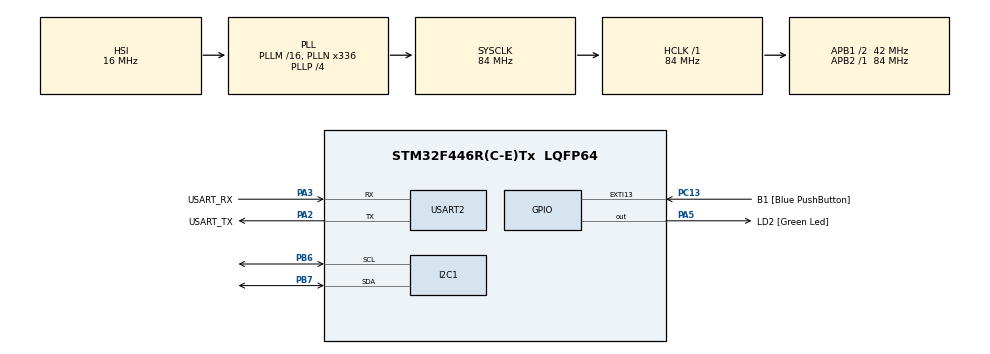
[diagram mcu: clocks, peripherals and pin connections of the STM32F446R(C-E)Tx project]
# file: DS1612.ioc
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Mcu.Family=STM32F4
Mcu.Name=STM32F446R(C-E)Tx
Mcu.Package=LQFP64
NVIC.PriorityGroup=NVIC_PRIORITYGROUP_0
PA13.GPIO_Label=TMS
PA13.Mode=Serial_Wire
PA13.Signal=SYS_JTMS-SWDIO
PA14.GPIO_Label=TCK
PA14.Mode=Serial_Wire
PA14.Signal=SYS_JTCK-SWCLK
PA2.GPIO_Label=USART_TX
PA2.Mode=Asynchronous
PA2.Signal=USART2_TX
PA3.GPIO_Label=USART_RX
PA3.Mode=Asynchronous
PA3.Signal=USART2_RX
PA5.GPIO_Label=LD2 [Green Led]
PA5.Signal=GPIO_Output
PB3.GPIO_Label=SWO
PB3.Signal=SYS_JTDO-SWO
PB6.GPIO_Speed=GPIO_SPEED_FREQ_HIGH
PB6.Mode=I2C
PB6.Signal=I2C1_SCL
PB7.GPIO_PuPdOD=GPIO_NOPULL
PB7.GPIO_Speed=GPIO_SPEED_FREQ_HIGH
PB7.Mode=I2C
PB7.Signal=I2C1_SDA
PC13.GPIO_Label=B1 [Blue PushButton]
PC13.GPIO_ModeDefaultEXTI=GPIO_MODE_IT_FALLING
PC13.Signal=GPXTI13
PC14-OSC32_IN.Mode=LSE-External-Oscillator
PC14-OSC32_IN.Signal=RCC_OSC32_IN
PC15-OSC32_OUT.Mode=LSE-External-Oscillator
PC15-OSC32_OUT.Signal=RCC_OSC32_OUT
PH0-OSC_IN.Mode=HSE-External-Oscillator
PH0-OSC_IN.Signal=RCC_OSC_IN
PH1-OSC_OUT.Mode=HSE-External-Oscillator
PH1-OSC_OUT.Signal=RCC_OSC_OUT
ProjectManager.HeapSize=0x200
ProjectManager.StackSize=0x400
ProjectManager.TargetToolchain=SW4STM32
RCC.48MHZClocksFreq_Value=84000000
RCC.AHBFreq_Value=84000000
RCC.APB1CLKDivider=RCC_HCLK_DIV2
RCC.APB1Freq_Value=42000000
RCC.APB1TimFreq_Value=84000000
RCC.APB2Freq_Value=84000000
RCC.APB2TimFreq_Value=84000000
RCC.CortexFreq_Value=84000000
RCC.FLatency-AdvancedSettings=FLASH_LATENCY_2
RCC.HCLKFreq_Value=84000000
RCC.HSE_VALUE=8000000
RCC.HSI_VALUE=16000000
RCC.PLLN=336
RCC.PLLP=RCC_PLLP_DIV4
RCC.SYSCLKFreq_VALUE=84000000
RCC.SYSCLKSource=RCC_SYSCLKSOURCE_PLLCLK
RCC.USBFreq_Value=168000000
RCC.VCOOutputFreq_Value=336000000
USART2.VirtualMode=VM_ASYNC
board=NUCLEO-F446RE

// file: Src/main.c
/* USER CODE BEGIN Header */
/**
  ******************************************************************************
  * @file           : main.c
  * @brief          : Main program body
  ******************************************************************************
  * @attention
  *
  * <h2><center>&copy; Copyright (c) 2019 STMicroelectronics.
  * All rights reserved.</center></h2>
  *
  * This software component is licensed by ST under BSD 3-Clause license,
  * the "License"; You may not use this file except in compliance with the
  * License. You may obtain a copy of the License at:
  *                        opensource.org/licenses/BSD-3-Clause
  *
  ******************************************************************************
  */
/* USER CODE END Header */

#include "main.h"
#include <string.h>
#include "vamk_lcd.h"

I2C_HandleTypeDef hi2c1;

UART_HandleTypeDef huart2;

/* USER CODE BEGIN PV */

uint8_t raw_data[2] = {0, 0};
uint8_t str_line1[] = "Temperature";
uint8_t str_line2[16] = "";

//sensor's command
uint8_t start_convert = 0xEE;
uint8_t stop_convert = 0x22;
uint8_t read_temp = 0xAA;
uint8_t read_counter = 0xA8;
uint8_t read_slope = 0xA8;
uint8_t access_config = 0xAC;
uint8_t access_TH = 0xA1;
uint8_t access_TL = 0xA2;

uint8_t *start_convert_ptr = &start_convert;
uint8_t *stop_convert_ptr = &stop_convert;
uint8_t *read_temp_ptr = &read_temp;
uint8_t *read_counter_ptr = &read_counter;
uint8_t *read_slope_ptr = &read_slope;
uint8_t *access_config_ptr = &access_config;
uint8_t *access_TH_ptr = &access_TH;
uint8_t *access_TL_ptr = &access_TL;

/* Slaves' addresses */
uint16_t sensor_addr = 0x90;

/* USER CODE END PV */

void SystemClock_Config(void);
static void MX_GPIO_Init(void);
static void MX_I2C1_Init(void);
static void MX_USART2_UART_Init(void);

int main(void)
{

  /* MCU Configuration--------------------------------------------------------*/

  /* Reset of all peripherals, Initializes the Flash interface and the Systick. */
  HAL_Init();

  /* Configure the system clock */
  SystemClock_Config();

  /* Initialize all configured peripherals */
  MX_GPIO_Init();
  MX_I2C1_Init();
  MX_USART2_UART_Init();
  /* USER CODE BEGIN 2 */

  HAL_I2C_Master_Transmit(&hi2c1, sensor_addr, start_convert_ptr, 1, 100);
  LCD_Init(hi2c1);
  LCD_ClearAll(hi2c1);

  /* USER CODE END 2 */

  /* Infinite loop */
  while (1)
  {

    /* USER CODE BEGIN 3 */
	  HAL_I2C_Master_Transmit(&hi2c1, sensor_addr, read_temp_ptr, 1, 100);
	  HAL_Delay(20);
	  HAL_I2C_Master_Receive(&hi2c1, sensor_addr, raw_data, 2, 100);

	  float temp=0;
	  if(raw_data[1]==-128) temp=0.5;
	  if(raw_data[1]==0) temp=0;
	  if(temp==0.5) temp= (float)raw_data[0]+temp;
	  else temp=raw_data[0];
	  DisplayOnLCD(temp, hi2c1, str_line1, str_line2);

  }
  /* USER CODE END 3 */
}

void SystemClock_Config(void)
{
  RCC_OscInitTypeDef RCC_OscInitStruct = {0};
  RCC_ClkInitTypeDef RCC_ClkInitStruct = {0};

  /** Configure the main internal regulator output voltage
  */
  __HAL_RCC_PWR_CLK_ENABLE();
  __HAL_PWR_VOLTAGESCALING_CONFIG(PWR_REGULATOR_VOLTAGE_SCALE3);
  /** Initializes the CPU, AHB and APB busses clocks
  */
  RCC_OscInitStruct.OscillatorType = RCC_OSCILLATORTYPE_HSI;
  RCC_OscInitStruct.HSIState = RCC_HSI_ON;
  RCC_OscInitStruct.HSICalibrationValue = RCC_HSICALIBRATION_DEFAULT;
  RCC_OscInitStruct.PLL.PLLState = RCC_PLL_ON;
  RCC_OscInitStruct.PLL.PLLSource = RCC_PLLSOURCE_HSI;
  RCC_OscInitStruct.PLL.PLLM = 16;
  RCC_OscInitStruct.PLL.PLLN = 336;
  RCC_OscInitStruct.PLL.PLLP = RCC_PLLP_DIV4;
  RCC_OscInitStruct.PLL.PLLQ = 2;
  RCC_OscInitStruct.PLL.PLLR = 2;
  if (HAL_RCC_OscConfig(&RCC_OscInitStruct) != HAL_OK)
  {
    Error_Handler();
  }
  /** Initializes the CPU, AHB and APB busses clocks
  */
  RCC_ClkInitStruct.ClockType = RCC_CLOCKTYPE_HCLK|RCC_CLOCKTYPE_SYSCLK
                              |RCC_CLOCKTYPE_PCLK1|RCC_CLOCKTYPE_PCLK2;
  RCC_ClkInitStruct.SYSCLKSource = RCC_SYSCLKSOURCE_PLLCLK;
  RCC_ClkInitStruct.AHBCLKDivider = RCC_SYSCLK_DIV1;
  RCC_ClkInitStruct.APB1CLKDivider = RCC_HCLK_DIV2;
  RCC_ClkInitStruct.APB2CLKDivider = RCC_HCLK_DIV1;

  if (HAL_RCC_ClockConfig(&RCC_ClkInitStruct, FLASH_LATENCY_2) != HAL_OK)
  {
    Error_Handler();
  }
}

static void MX_I2C1_Init(void)
{

  hi2c1.Instance = I2C1;
  hi2c1.Init.ClockSpeed = 100000;
  hi2c1.Init.DutyCycle = I2C_DUTYCYCLE_2;
  hi2c1.Init.OwnAddress1 = 0;
  hi2c1.Init.AddressingMode = I2C_ADDRESSINGMODE_7BIT;
  hi2c1.Init.DualAddressMode = I2C_DUALADDRESS_DISABLE;
  hi2c1.Init.OwnAddress2 = 0;
  hi2c1.Init.GeneralCallMode = I2C_GENERALCALL_DISABLE;
  hi2c1.Init.NoStretchMode = I2C_NOSTRETCH_DISABLE;
  if (HAL_I2C_Init(&hi2c1) != HAL_OK)
  {
    Error_Handler();
  }

}

static void MX_USART2_UART_Init(void)
{

  huart2.Instance = USART2;
  huart2.Init.BaudRate = 115200;
  huart2.Init.WordLength = UART_WORDLENGTH_8B;
  huart2.Init.StopBits = UART_STOPBITS_1;
  huart2.Init.Parity = UART_PARITY_NONE;
  huart2.Init.Mode = UART_MODE_TX_RX;
  huart2.Init.HwFlowCtl = UART_HWCONTROL_NONE;
  huart2.Init.OverSampling = UART_OVERSAMPLING_16;
  if (HAL_UART_Init(&huart2) != HAL_OK)
  {
    Error_Handler();
  }

}

static void MX_GPIO_Init(void)
{
  GPIO_InitTypeDef GPIO_InitStruct = {0};

  /* GPIO Ports Clock Enable */
  __HAL_RCC_GPIOC_CLK_ENABLE();
  __HAL_RCC_GPIOH_CLK_ENABLE();
  __HAL_RCC_GPIOA_CLK_ENABLE();
  __HAL_RCC_GPIOB_CLK_ENABLE();

  /*Configure GPIO pin Output Level */
  HAL_GPIO_WritePin(LD2_GPIO_Port, LD2_Pin, GPIO_PIN_RESET);

  /*Configure GPIO pin : B1_Pin */
  GPIO_InitStruct.Pin = B1_Pin;
  GPIO_InitStruct.Mode = GPIO_MODE_IT_FALLING;
  GPIO_InitStruct.Pull = GPIO_NOPULL;
  HAL_GPIO_Init(B1_GPIO_Port, &GPIO_InitStruct);

  /*Configure GPIO pin : LD2_Pin */
  GPIO_InitStruct.Pin = LD2_Pin;
  GPIO_InitStruct.Mode = GPIO_MODE_OUTPUT_PP;
  GPIO_InitStruct.Pull = GPIO_NOPULL;
  GPIO_InitStruct.Speed = GPIO_SPEED_FREQ_LOW;
  HAL_GPIO_Init(LD2_GPIO_Port, &GPIO_InitStruct);

}

void Error_Handler(void)
{
}

/************************ (C) COPYRIGHT STMicroelectronics *****END OF FILE****/
